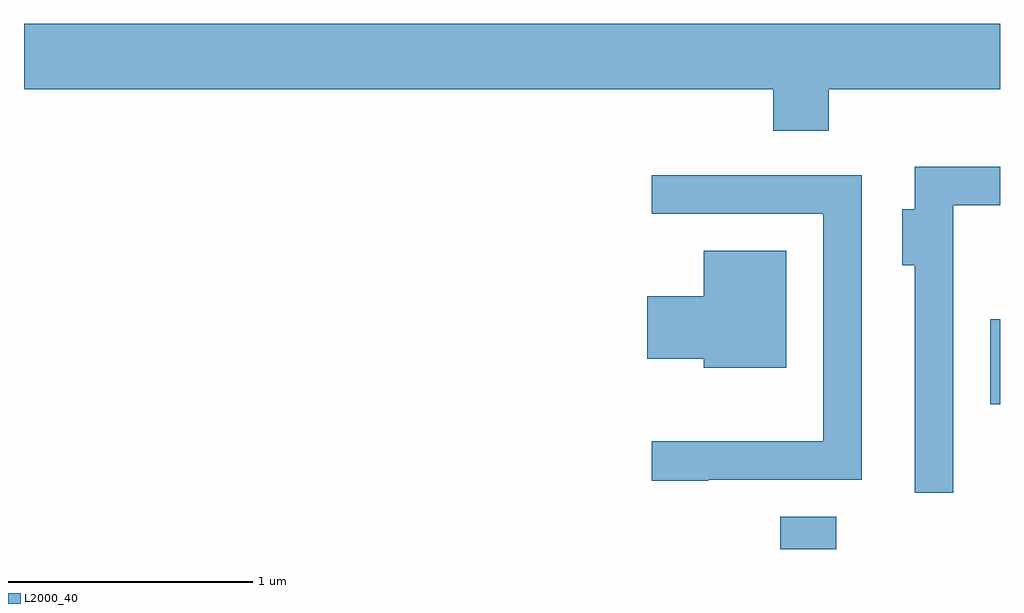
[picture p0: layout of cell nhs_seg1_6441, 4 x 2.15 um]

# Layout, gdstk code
import gdstk
lib = gdstk.Library(unit=1e-6, precision=1e-09)
def R(c, l, rs):  # rectangles x0, y0, x1, y1
    for r in rs: c.add(gdstk.rectangle(r[:2], r[2:], *l))
def P(c, l, *ps):  # polygons
    for p in ps: c.add(gdstk.Polygon(p, *l))
L2000_40 = (2000, 40)

nhs_seg1_6441 = lib.new_cell('nhs_seg1_6441')
R(nhs_seg1_6441, L2000_40, [(382.711,877.712,382.939,877.844), (383.571,878.306,383.611,878.654)])
P(nhs_seg1_6441, L2000_40, [(382.909,879.596),(383.611,879.596),(383.611,879.864),(379.611,879.864),(379.611,879.596),(382.681,879.596),(382.681,879.426),(382.909,879.426)],
  [(383.419,879.121),(383.611,879.121),(383.611,879.279),(383.261,879.279),(383.261,879.104),(383.211,879.104),(383.211,878.876),(383.261,878.876),(383.261,877.943),(383.419,877.943)],
  [(382.415,877.996),(383.044,877.996),(383.044,879.244),(382.183,879.244),(382.183,879.086),(382.886,879.086),(382.886,878.154),(382.183,878.154),(382.183,877.991),(382.415,877.991)],
  [(382.734,878.934),(382.396,878.934),(382.396,878.749),(382.166,878.749),(382.166,878.491),(382.396,878.491),(382.396,878.456),(382.734,878.456)])

lib.write_gds('nhs_seg1_6441.gds')
